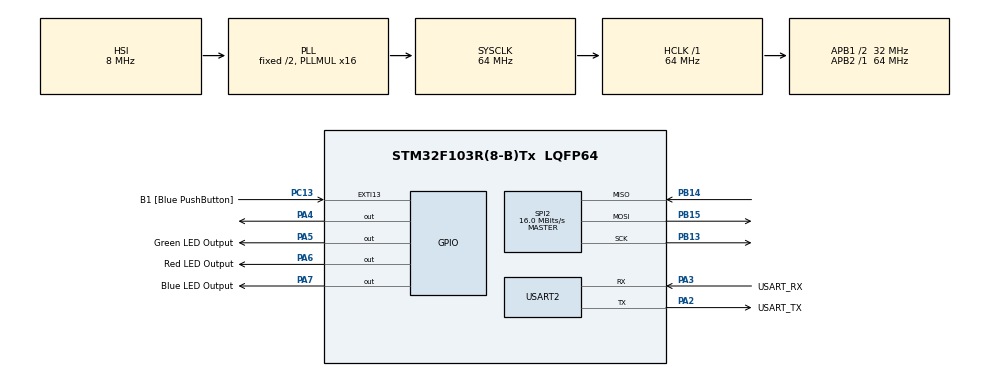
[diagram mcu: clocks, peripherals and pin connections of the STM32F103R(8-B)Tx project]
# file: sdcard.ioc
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FATFS._MAX_SS=4096
FATFS._USE_LFN=1
Mcu.Family=STM32F1
Mcu.Name=STM32F103R(8-B)Tx
Mcu.Package=LQFP64
NVIC.EXTI15_10_IRQn=true\:0\:0\:false\:false\:true\:true\:true\:true
NVIC.PriorityGroup=NVIC_PRIORITYGROUP_4
PA13.GPIO_Label=TMS
PA13.Mode=Serial_Wire
PA13.Signal=SYS_JTMS-SWDIO
PA14.GPIO_Label=TCK
PA14.Mode=Serial_Wire
PA14.Signal=SYS_JTCK-SWCLK
PA2.GPIO_Label=USART_TX
PA2.GPIO_Mode=GPIO_MODE_AF_PP
PA2.GPIO_PuPd=GPIO_NOPULL
PA2.GPIO_Speed=GPIO_SPEED_FREQ_LOW
PA2.Mode=Asynchronous
PA2.Signal=USART2_TX
PA3.GPIO_Label=USART_RX
PA3.GPIO_Mode=GPIO_MODE_AF_PP
PA3.GPIO_PuPd=GPIO_NOPULL
PA3.GPIO_Speed=GPIO_SPEED_FREQ_LOW
PA3.Mode=Asynchronous
PA3.Signal=USART2_RX
PA4.GPIO_PuPd=GPIO_PULLUP
PA4.Signal=GPIO_Output
PA5.GPIO_Label=Green LED Output
PA5.GPIO_ModeDefaultOutputPP=GPIO_MODE_OUTPUT_PP
PA5.GPIO_PuPd=GPIO_NOPULL
PA5.GPIO_Speed=GPIO_SPEED_FREQ_LOW
PA5.Signal=GPIO_Output
PA5.Stacked=true
PA6.GPIO_Label=Red LED Output
PA6.Signal=GPIO_Output
PA7.GPIO_Label=Blue LED Output
PA7.GPIO_PuPd=GPIO_PULLUP
PA7.Signal=GPIO_Output
PB13.Mode=Full_Duplex_Master
PB13.Signal=SPI2_SCK
PB14.Mode=Full_Duplex_Master
PB14.Signal=SPI2_MISO
PB15.Mode=Full_Duplex_Master
PB15.Signal=SPI2_MOSI
PB3.GPIO_Label=SWO
PB3.Signal=SYS_JTDO-TRACESWO
PC13-TAMPER-RTC.GPIO_Label=B1 [Blue PushButton]
PC13-TAMPER-RTC.GPIO_PuPd=GPIO_NOPULL
PC13-TAMPER-RTC.Signal=GPXTI13
PC14-OSC32_IN.Mode=LSE-External-Oscillator
PC14-OSC32_IN.Signal=RCC_OSC32_IN
PC15-OSC32_OUT.Mode=LSE-External-Oscillator
PC15-OSC32_OUT.Signal=RCC_OSC32_OUT
PD0-OSC_IN.Mode=HSE-External-Clock-Source
PD0-OSC_IN.Signal=RCC_OSC_IN
PD1-OSC_OUT.Mode=HSE-External-Clock-Source
PD1-OSC_OUT.Signal=RCC_OSC_OUT
ProjectManager.HeapSize=0x200
ProjectManager.StackSize=0x400
ProjectManager.TargetToolchain=STM32CubeIDE
RCC.AHBFreq_Value=64000000
RCC.APB1CLKDivider=RCC_HCLK_DIV2
RCC.APB1Freq_Value=32000000
RCC.APB1TimFreq_Value=64000000
RCC.APB2Freq_Value=64000000
RCC.APB2TimFreq_Value=64000000
RCC.HCLKFreq_Value=64000000
RCC.PLLMUL=RCC_PLL_MUL16
RCC.RTCClockSelection=RCC_RTCCLKSOURCE_LSE
RCC.SYSCLKFreq_VALUE=64000000
RCC.SYSCLKSource=RCC_SYSCLKSOURCE_PLLCLK
RCC.USBFreq_Value=64000000
SPI2.CalculateBaudRate=16.0 MBits/s
SPI2.Direction=SPI_DIRECTION_2LINES
SPI2.Mode=SPI_MODE_MASTER
SPI2.VirtualType=VM_MASTER
USART2.VirtualMode=VM_ASYNC
VP_FATFS_VS_Generic.Mode=User_defined
board=NUCLEO-F103RB

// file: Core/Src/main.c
/* USER CODE BEGIN Header */
/**
******************************************************************************
* @file           : main.c
* @brief          : Main program body
******************************************************************************
* @attention
*
* Copyright (c) 2023 STMicroelectronics.
* All rights reserved.
*
* This software is licensed under terms that can be found in the LICENSE file
* in the root directory of this software component.
* If no LICENSE file comes with this software, it is provided AS-IS.
*
******************************************************************************
*/
/* USER CODE END Header */
#include "main.h"
#include "fatfs.h"

/* USER CODE BEGIN Includes */
#include <string.h>
/* USER CODE END Includes */

/* USER CODE BEGIN PD */
char password[] = "thebestpasswordintheworld";

const char* messages[MESSAGES_SIZE] = {
		"Password checker by Bardik Eduard v0.1\r\n",
		"Error mounting microSD-card\r\n",
		"Error reading file from microSD-card\r\n",
		"Checking password...\r\n",
		"Password is correct!\r\n",
		"Password is incorrect!\r\n",
		"To check new password, reset the device\r\n",
};

FATFS fs;
FIL file;
/* USER CODE END PD */

SPI_HandleTypeDef hspi2;

UART_HandleTypeDef huart2;

void SystemClock_Config(void);
static void MX_GPIO_Init(void);
static void MX_USART2_UART_Init(void);
static void MX_SPI2_Init(void);

int main(void)
{

  /* MCU Configuration--------------------------------------------------------*/

  /* Reset of all peripherals, Initializes the Flash interface and the Systick. */
  HAL_Init();

  /* Configure the system clock */
  SystemClock_Config();

  /* Initialize all configured peripherals */
  MX_GPIO_Init();
  MX_USART2_UART_Init();
  MX_SPI2_Init();
  MX_FATFS_Init();
  /* USER CODE BEGIN 2 */

	indicate(INITIALIZATION);

	FRESULT mount_res = f_mount(&fs, "", 0);

	if (mount_res != FR_OK) {
		indicate(MOUNT_ERROR);
	}

	FRESULT open_result = f_open(&file, "password.txt", FA_READ | FA_OPEN_EXISTING);

	if (open_result != FR_OK) {
		indicate(READ_ERROR);
	}

	indicate(READ_START);

	char scan_buffer[sizeof(password)] = {0};
	f_gets(scan_buffer, sizeof(password), &file);

	if (strcmp(password, scan_buffer) == 0) {
		indicate(CORRECT_PASSWORD);
	}
	else {
		indicate(INCORRECT_PASSWORD);
	}

	indicate(FINISH);
	f_close(&file);

  /* USER CODE END 2 */

  /* Infinite loop */
	while (1)
	{

	}
}

void SystemClock_Config(void)
{
  RCC_OscInitTypeDef RCC_OscInitStruct = {0};
  RCC_ClkInitTypeDef RCC_ClkInitStruct = {0};

  /** Initializes the RCC Oscillators according to the specified parameters
  * in the RCC_OscInitTypeDef structure.
  */
  RCC_OscInitStruct.OscillatorType = RCC_OSCILLATORTYPE_HSI;
  RCC_OscInitStruct.HSIState = RCC_HSI_ON;
  RCC_OscInitStruct.HSICalibrationValue = RCC_HSICALIBRATION_DEFAULT;
  RCC_OscInitStruct.PLL.PLLState = RCC_PLL_ON;
  RCC_OscInitStruct.PLL.PLLSource = RCC_PLLSOURCE_HSI_DIV2;
  RCC_OscInitStruct.PLL.PLLMUL = RCC_PLL_MUL16;
  if (HAL_RCC_OscConfig(&RCC_OscInitStruct) != HAL_OK)
  {
    Error_Handler();
  }

  /** Initializes the CPU, AHB and APB buses clocks
  */
  RCC_ClkInitStruct.ClockType = RCC_CLOCKTYPE_HCLK|RCC_CLOCKTYPE_SYSCLK
                              |RCC_CLOCKTYPE_PCLK1|RCC_CLOCKTYPE_PCLK2;
  RCC_ClkInitStruct.SYSCLKSource = RCC_SYSCLKSOURCE_PLLCLK;
  RCC_ClkInitStruct.AHBCLKDivider = RCC_SYSCLK_DIV1;
  RCC_ClkInitStruct.APB1CLKDivider = RCC_HCLK_DIV2;
  RCC_ClkInitStruct.APB2CLKDivider = RCC_HCLK_DIV1;

  if (HAL_RCC_ClockConfig(&RCC_ClkInitStruct, FLASH_LATENCY_2) != HAL_OK)
  {
    Error_Handler();
  }
}

static void MX_SPI2_Init(void)
{

  /* SPI2 parameter configuration*/
  hspi2.Instance = SPI2;
  hspi2.Init.Mode = SPI_MODE_MASTER;
  hspi2.Init.Direction = SPI_DIRECTION_2LINES;
  hspi2.Init.DataSize = SPI_DATASIZE_8BIT;
  hspi2.Init.CLKPolarity = SPI_POLARITY_LOW;
  hspi2.Init.CLKPhase = SPI_PHASE_1EDGE;
  hspi2.Init.NSS = SPI_NSS_SOFT;
  hspi2.Init.BaudRatePrescaler = SPI_BAUDRATEPRESCALER_2;
  hspi2.Init.FirstBit = SPI_FIRSTBIT_MSB;
  hspi2.Init.TIMode = SPI_TIMODE_DISABLE;
  hspi2.Init.CRCCalculation = SPI_CRCCALCULATION_DISABLE;
  hspi2.Init.CRCPolynomial = 10;
  if (HAL_SPI_Init(&hspi2) != HAL_OK)
  {
    Error_Handler();
  }

}

static void MX_USART2_UART_Init(void)
{

  huart2.Instance = USART2;
  huart2.Init.BaudRate = 115200;
  huart2.Init.WordLength = UART_WORDLENGTH_8B;
  huart2.Init.StopBits = UART_STOPBITS_1;
  huart2.Init.Parity = UART_PARITY_NONE;
  huart2.Init.Mode = UART_MODE_TX_RX;
  huart2.Init.HwFlowCtl = UART_HWCONTROL_NONE;
  huart2.Init.OverSampling = UART_OVERSAMPLING_16;
  if (HAL_UART_Init(&huart2) != HAL_OK)
  {
    Error_Handler();
  }

}

static void MX_GPIO_Init(void)
{
  GPIO_InitTypeDef GPIO_InitStruct = {0};

  /* GPIO Ports Clock Enable */
  __HAL_RCC_GPIOC_CLK_ENABLE();
  __HAL_RCC_GPIOD_CLK_ENABLE();
  __HAL_RCC_GPIOA_CLK_ENABLE();
  __HAL_RCC_GPIOB_CLK_ENABLE();

  /*Configure GPIO pin Output Level */
  HAL_GPIO_WritePin(GPIOA, GPIO_PIN_4|Green_LED_Output_Pin|Red_LED_Output_Pin|Blue_LED_Output_Pin, GPIO_PIN_RESET);

  /*Configure GPIO pin : B1_Pin */
  GPIO_InitStruct.Pin = B1_Pin;
  GPIO_InitStruct.Mode = GPIO_MODE_IT_RISING;
  GPIO_InitStruct.Pull = GPIO_NOPULL;
  HAL_GPIO_Init(B1_GPIO_Port, &GPIO_InitStruct);

  /*Configure GPIO pins : PA4 Blue_LED_Output_Pin */
  GPIO_InitStruct.Pin = GPIO_PIN_4|Blue_LED_Output_Pin;
  GPIO_InitStruct.Mode = GPIO_MODE_OUTPUT_PP;
  GPIO_InitStruct.Pull = GPIO_PULLUP;
  GPIO_InitStruct.Speed = GPIO_SPEED_FREQ_LOW;
  HAL_GPIO_Init(GPIOA, &GPIO_InitStruct);

  /*Configure GPIO pins : Green_LED_Output_Pin Red_LED_Output_Pin */
  GPIO_InitStruct.Pin = Green_LED_Output_Pin|Red_LED_Output_Pin;
  GPIO_InitStruct.Mode = GPIO_MODE_OUTPUT_PP;
  GPIO_InitStruct.Pull = GPIO_NOPULL;
  GPIO_InitStruct.Speed = GPIO_SPEED_FREQ_LOW;
  HAL_GPIO_Init(GPIOA, &GPIO_InitStruct);

  /* EXTI interrupt init*/
  HAL_NVIC_SetPriority(EXTI15_10_IRQn, 0, 0);
  HAL_NVIC_EnableIRQ(EXTI15_10_IRQn);

}

/* USER CODE BEGIN 4 */

// function that outputs information about device working
void indicate(int message_type) {

	if (message_type < (int) MESSAGES_SIZE)
		HAL_UART_Transmit(&huart2, (uint8_t*) messages[message_type], strlen(messages[message_type]) + 1, 10);

	switch (message_type) {
	case INITIALIZATION: {
		HAL_GPIO_WritePin(Blue_LED_Output_GPIO_Port, Blue_LED_Output_Pin, 1);
		break;
	}
	case MOUNT_ERROR: {
		indicate(FINISH);
		GPIO_PinState current_state = GPIO_PIN_RESET;
		while (1) {
			HAL_GPIO_WritePin(Blue_LED_Output_GPIO_Port, Blue_LED_Output_Pin, current_state);
			current_state = (current_state == GPIO_PIN_RESET) ? GPIO_PIN_SET : GPIO_PIN_RESET;
			HAL_Delay(100);
		}
		break;
	}
	case READ_ERROR: {
		indicate(FINISH);
		GPIO_PinState current_state = GPIO_PIN_RESET;
		while (1) {
			HAL_GPIO_WritePin(Blue_LED_Output_GPIO_Port, Blue_LED_Output_Pin, current_state);
			current_state = (current_state == GPIO_PIN_RESET) ? GPIO_PIN_SET : GPIO_PIN_RESET;
			HAL_Delay(100);
		}
		break;
	}
	case READ_START: {
		break;
	}
	case CORRECT_PASSWORD: {
		HAL_GPIO_WritePin(Green_LED_Output_GPIO_Port, Green_LED_Output_Pin, 1);
		break;
	}
	case INCORRECT_PASSWORD: {
		HAL_GPIO_WritePin(Red_LED_Output_GPIO_Port, Red_LED_Output_Pin, 1);
		break;
	}
	case FINISH: {
		break;
	}
	default: {
		return;
	}
	}
}

/* USER CODE END 4 */

void Error_Handler(void)
{
	__disable_irq();
	while (1)
	{
	}
}
